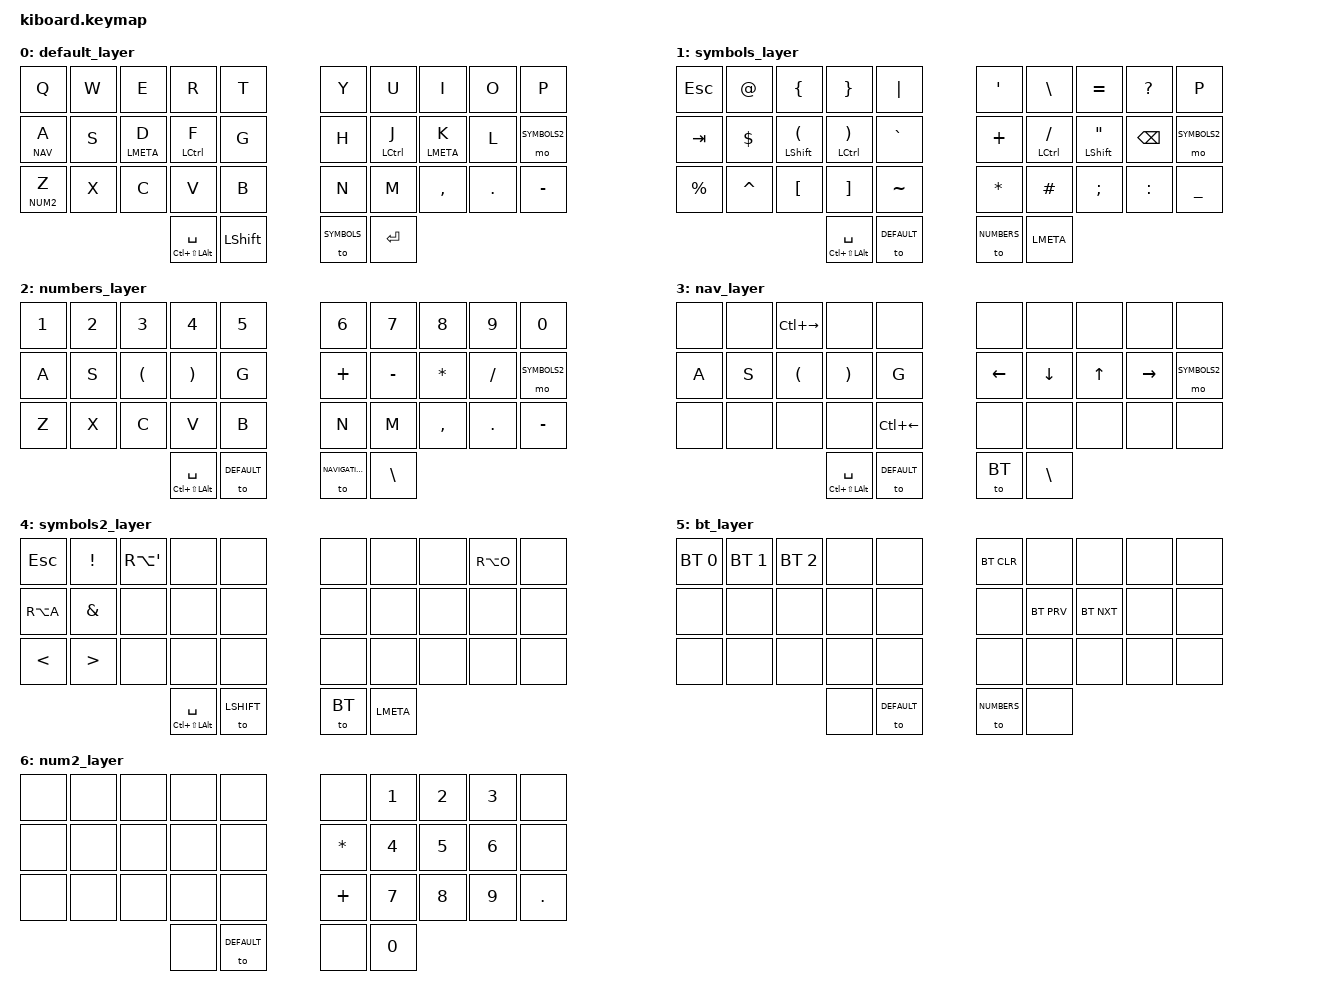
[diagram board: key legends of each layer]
/*
 * Copyright (c) 2020 The ZMK Contributors
 *
 * SPDX-License-Identifier: MIT
 */

#include "norwegian-keymap.h"
#include <behaviors.dtsi>
#include <dt-bindings/zmk/keys.h>
#include <dt-bindings/zmk/outputs.h>
#include <dt-bindings/zmk/bt.h>

#define DEFAULT 0
#define SYMBOLS 1
#define NUMBERS 2
#define NAVIGATION 3
#define NAV 3
#define SYMBOLS2 4
#define BT 5
#define NUM2 6

// Helpers
#define MEH LC(LS(LALT))

// Layer-tap: The "layer-tap" behavior enables a layer when a key is held, and outputs a keypress when the key is only tapped for a short time.
// Docs: https://zmk.dev/docs/keymaps/behaviors/layers#layer-tap
&lt {
  tapping-term-ms = <200>;
};

/ {
	behaviors {
		hm: homerow_mods {
			compatible = "zmk,behavior-hold-tap";
			label = "HOMEROW_MODS";
			#binding-cells = <2>;
			tapping-term-ms = <220>;
			quick-tap-ms = <0>;
			flavor = "tap-preferred";
			bindings = <&kp>, <&kp>;
		};
	};

  combos {
      compatible = "zmk,combos"; 
      esc {
          timeout-ms = <50>;
          key-positions = <0 1>;
          bindings = <&kp ESC>;
      };
  }; 

	keymap {
		compatible = "zmk,keymap";

		default_layer {
// ---------------------------------------------------------------------------------------------------------------------------------
// |  Q  |  W  |  E   |  R   |  T   |                                          |  Y   |   U    |  I    |  O   |   P   |
// |  A  |  S  |  D   |  F   |  G   |                                          |  H   |   J    |  K    |  L   |   ;   |
// |  Z  |  X  |  C   |  V   |  B   |                                          |  N   |   M    |  ,    |  .   |   /   |
//                              |   X   |   X   |                 |   X   |   X   |
// ---------------------------------------------------------------------------------------------------------------------------------

			bindings = <
	&kp Q       &kp W &kp E       &kp R         &kp T                 &kp Y       &kp U        &kp I       &kp O   &kp P   
	&lt NAV A   &kp S &hm LMETA D &hm LCTRL F   &kp G                 &kp H       &hm LCTRL J  &hm LMETA K &kp L   &mo SYMBOLS2
	&lt NUM2 Z  &kp X &kp C       &kp V         &kp B                 &kp N       &kp M        &kp COMMA   &kp DOT &kp MINUS
	                              &hm MEH SPACE &kp LSHIFT            &to SYMBOLS &kp RET
			>;
		};

    symbols_layer {
			bindings = <
	&kp ESC   &kp AT    &kp LBRC        &kp RBRC       &kp PIPE            &kp SQT       &kp BSLH        &kp EQUAL      &kp QMARK &kp P   
	&kp TAB   &kp DLLR  &hm LSHIFT LPAR &hm LCTRL RPAR &kp GRAVE           &kp PLUS      &hm LCTRL SLASH &hm LSHIFT DQT &kp BSPC  &mo SYMBOLS2
	&kp PRCNT &kp CARET &kp LBKT        &kp RBKT       &kp TILDE           &kp ASTERISK  &kp HASH        &kp SEMI       &kp COLON &kp UNDER
	                                    &hm MEH SPACE  &to DEFAULT         &to NUMBERS   &kp LMETA
			>;
    };

    numbers_layer {
			bindings = <
	&kp N1 &kp N2 &kp N3   &kp N4        &kp N5              &kp N6         &kp N7     &kp N8       &kp N9    &kp N0   
	&kp A  &kp S  &kp LPAR &kp RPAR      &kp G               &kp PLUS       &kp MINUS  &kp ASTERISK &kp FSLH  &mo SYMBOLS2
	&kp Z  &kp X  &kp C    &kp V         &kp B               &kp N          &kp M      &kp COMMA    &kp DOT   &kp MINUS
	                       &hm MEH SPACE &to DEFAULT         &to NAVIGATION &kp BSLH
			>;
    };

    nav_layer {
			bindings = <
	&none  &none  &kp LC(RIGHT_ARROW) &none         &none                      &none          &none          &none        &none           &none
	&kp A  &kp S  &kp LPAR            &kp RPAR      &kp G                      &kp LEFT_ARROW &kp DOWN_ARROW &kp UP_ARROW &kp RIGHT_ARROW &mo SYMBOLS2
	&none  &none  &none               &none         &kp LC(LEFT_ARROW)         &none          &none          &none        &none           &none
	                                  &hm MEH SPACE &to DEFAULT                &to BT         &kp BSLH
			>;
    };

    symbols2_layer {
			bindings = <
	&kp ESC       &kp EXCL         &kp RA(SINGLE_QUOTE) &none          &none              &none       &none     &none &kp RA(O) &none   
	&kp RA(A)     &kp AMPS         &none                &none          &none              &none       &none     &none &none     &none
	&kp LESS_THAN &kp GREATER_THAN &none                &none          &none              &none       &none     &none &none     &none
	                                                    &hm MEH SPACE  &to LSHIFT         &to BT &kp LMETA
			>;
	};

    bt_layer {
			bindings = <
	&bt BT_SEL 0     &bt BT_SEL 1         &bt BT_SEL 2     &none      &none               &bt BT_CLR  &none          &none        &none     &none   
	&none            &none                &none            &none      &none               &none       &bt BT_PRV     &bt BT_NXT   &none     &none
	&none            &none                &none            &none      &none               &none       &none          &none        &none     &none
	                                                       &none      &to DEFAULT         &to NUMBERS &none
			>;
	};

    num2_layer {
			bindings = <
	&none            &none                &none            &none      &none               &none           &kp N1   &kp N2  &kp N3  &none
	&none            &none                &none            &none      &none               &kp ASTERISK    &kp N4   &kp N5  &kp N6  &none
	&none            &none                &none            &none      &none               &kp PLUS        &kp N7   &kp N8  &kp N9  &kp DOT
	                                                       &none      &to DEFAULT         &none           &kp N0
			>;
	};
	};
};
